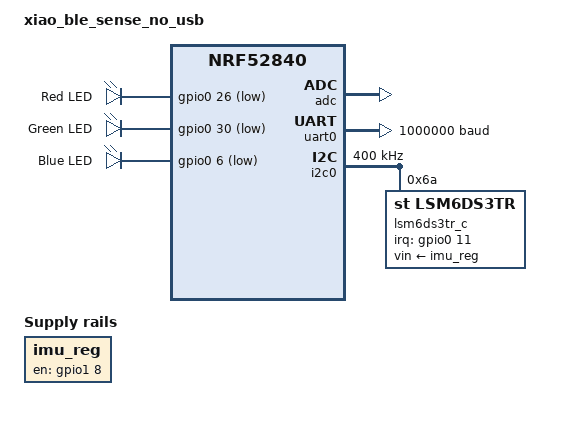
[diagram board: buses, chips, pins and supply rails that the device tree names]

/dts-v1/;
#include <nordic/nrf52840_qiaa.dtsi>
#include "xiao_ble_sense_no_usb.dtsi"

#include <zephyr/dt-bindings/i2c/i2c.h>
#include <zephyr/dt-bindings/gpio/nordic-nrf-gpio.h>

/ {
	model = "xiao_ble_sense_no_usb";
	compatible = "seed,xiao-ble-sense-no-usb";

	chosen {
		zephyr,console = &uart0;
		zephyr,shell-uart = &uart0;
		zephyr,uart-mcumgr = &uart0;
		zephyr,bt-mon-uart = &uart0;
		zephyr,bt-c2h-uart = &uart0;
		zephyr,sram = &sram0;
		zephyr,flash = &flash0;
		zephyr,code-partition = &slot0_partition;
		zephyr,ieee802154 = &ieee802154;

	};

	leds {
		compatible = "gpio-leds";
		led0: led_0 {
			gpios = <&gpio0 26 GPIO_ACTIVE_LOW>;
			label = "Red LED";
		};
		led1: led_1 {
			gpios = <&gpio0 30 GPIO_ACTIVE_LOW>;
			label = "Green LED";
		};
		led2: led_2 {
			gpios = <&gpio0 6 GPIO_ACTIVE_LOW>;
			label = "Blue LED";
		};
	};

	// pwmleds {
	// 	compatible = "pwm-leds";
	// 	pwm_led0: pwm_led_0 {
	// 		pwms = <&pwm0 0 PWM_MSEC(20) PWM_POLARITY_INVERTED>;
	// 	};
	// };

	/* These aliases are provided for compatibility with samples */
	aliases {
		led0 = &led0;
		led1 = &led1;
		led2 = &led2;
		// pwm-led0 = &pwm_led0;
		bootloader-led0 = &led0;
		mcuboot-led0 = &led0;
		watchdog0 = &wdt0;
		spi-flash0 = &p25q16h;
	};

	imu_reg: lsm6ds3tr-c-en {
		compatible = "regulator-fixed-sync", "regulator-fixed";
		enable-gpios = <&gpio1 8 (NRF_GPIO_DRIVE_S0H1 | GPIO_ACTIVE_HIGH)>;
		regulator-name = "lsm6ds3tr-c-en";
		regulator-boot-on;
		regulator-always-on;
		startup-delay-us = <3000>;
	};
};

&adc {
	status = "okay";
};

&gpiote {
	status = "okay";
};

&gpio0 {
	status = "okay";
};

&gpio1 {
	status = "okay";
};

&uart0 {
	compatible = "nordic,nrf-uarte";
	status = "okay";
	current-speed = <1000000>;
	pinctrl-0 = <&uart0_default>;
	pinctrl-1 = <&uart0_sleep>;
	pinctrl-names = "default", "sleep";
};

&i2c1 {
	compatible = "nordic,nrf-twi";
	/* Cannot be used together with spi1. */
	status = "disabled";
	pinctrl-0 = <&i2c1_default>;
	pinctrl-1 = <&i2c1_sleep>;
	pinctrl-names = "default", "sleep";
};

&i2c0 {
	compatible = "nordic,nrf-twim";
	/* Cannot be used together with spi0. */
	status = "okay";
	pinctrl-0 = <&i2c0_default>;
	pinctrl-1 = <&i2c0_sleep>;
	pinctrl-names = "default", "sleep";
	clock-frequency = <I2C_BITRATE_FAST>;

	lsm6ds3tr_c: lsm6ds3tr-c@6a {
		status = "okay";
		compatible = "st,lsm6ds3tr";
		reg = <0x6a>;
		irq-gpios = <&gpio0 11 GPIO_ACTIVE_HIGH>;
		vin-supply = <&imu_reg>;
	};
};

// &pwm0 {
// 	status = "okay";
// 	pinctrl-0 = <&pwm0_default>;
// 	pinctrl-1 = <&pwm0_sleep>;
// 	pinctrl-names = "default", "sleep";
// };

// &spi2 {
// 	compatible = "nordic,nrf-spi";
// 	status = "okay";
// 	pinctrl-0 = <&spi2_default>;
// 	pinctrl-1 = <&spi2_sleep>;
// 	pinctrl-names = "default", "sleep";
// };

&qspi {
	status = "disabled";
	pinctrl-0 = <&qspi_default>;
	pinctrl-1 = <&qspi_sleep>;
	pinctrl-names = "default", "sleep";
	p25q16h: p25q16h@0 {
		compatible = "nordic,qspi-nor";
		reg = <0>;
		sck-frequency = <104000000>;
		quad-enable-requirements = "S2B1v1";
		jedec-id = [ 85 60 15  ];
		sfdp-bfp = [ e5 20 f1 ff ff ff ff 00 44 eb 08 6b 08 3b 80 bb
					 ee ff ff ff ff ff 00 ff ff ff 00 ff 0c 20 0f 52
					 10 d8 08 81  
		];
		size = <16777216>;
		has-dpd;
		t-enter-dpd = <3000>;
		t-exit-dpd = <8000>;
	};
};

&ieee802154 {
	status = "disabled";
};

&flash0 {
	partitions {
		compatible = "fixed-partitions";
		#address-cells = <1>;
		#size-cells = <1>;

		boot_partition: partition@0 {
			label = "mcuboot";
			reg = <0x00000000 0x0000C000>;
		};
		slot0_partition: partition@c000 {
			label = "image-0";
			reg = <0x0000C000 0x00076000>;
		};
		slot1_partition: partition@82000 {
			label = "image-1";
			reg = <0x00082000 0x00076000>;
		};


		settings_partition: settings_partition@f8000 {
			label = "storage";
			reg = <0x000f8000 0x00008000>;
		};
		
	};
};

